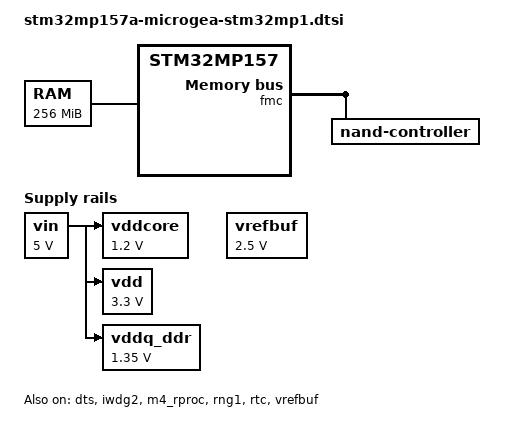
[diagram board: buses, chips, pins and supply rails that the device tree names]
// SPDX-License-Identifier: (GPL-2.0+ OR BSD-3-Clause)
/*
 * Copyright (c) STMicroelectronics 2019 - All Rights Reserved
 * Copyright (c) 2020 Engicam srl
 * Copyright (c) 2020 Amarula Solutions(India)
 */

/ {
	compatible = "engicam,microgea-stm32mp1", "st,stm32mp157";

	memory@c0000000 {
		device_type = "memory";
		reg = <0xc0000000 0x10000000>;
	};

	reserved-memory {
		#address-cells = <1>;
		#size-cells = <1>;
		ranges;

		mcuram2: mcuram2@10000000 {
			compatible = "shared-dma-pool";
			reg = <0x10000000 0x40000>;
			no-map;
		};

		vdev0vring0: vdev0vring0@10040000 {
			compatible = "shared-dma-pool";
			reg = <0x10040000 0x1000>;
			no-map;
		};

		vdev0vring1: vdev0vring1@10041000 {
			compatible = "shared-dma-pool";
			reg = <0x10041000 0x1000>;
			no-map;
		};

		vdev0buffer: vdev0buffer@10042000 {
			compatible = "shared-dma-pool";
			reg = <0x10042000 0x4000>;
			no-map;
		};

		mcuram: mcuram@30000000 {
			compatible = "shared-dma-pool";
			reg = <0x30000000 0x40000>;
			no-map;
		};

		retram: retram@38000000 {
			compatible = "shared-dma-pool";
			reg = <0x38000000 0x10000>;
			no-map;
		};
	};

	vin: regulator-vin {
		compatible = "regulator-fixed";
		regulator-name = "vin";
		regulator-min-microvolt = <5000000>;
		regulator-max-microvolt = <5000000>;
		regulator-always-on;
	};

	vddcore: regulator-vddcore {
		compatible = "regulator-fixed";
		regulator-name = "vddcore";
		regulator-min-microvolt = <1200000>;
		regulator-max-microvolt = <1200000>;
		regulator-always-on;
		vin-supply = <&vin>;
	};

	vdd: regulator-vdd {
		compatible = "regulator-fixed";
		regulator-name = "vdd";
		regulator-min-microvolt = <3300000>;
		regulator-max-microvolt = <3300000>;
		regulator-always-on;
		vin-supply = <&vin>;
	};

	vddq_ddr: regulator-vddq-ddr {
		compatible = "regulator-fixed";
		regulator-name = "vddq_ddr";
		regulator-min-microvolt = <1350000>;
		regulator-max-microvolt = <1350000>;
		regulator-always-on;
		vin-supply = <&vin>;
	};
};

&dts {
	status = "okay";
};

&fmc {
	pinctrl-names = "default", "sleep";
	pinctrl-0 = <&fmc_pins_a>;
	pinctrl-1 = <&fmc_sleep_pins_a>;
	status = "okay";

	nand-controller@4,0 {
		status = "okay";

		nand@0 {
			reg = <0>;
			nand-on-flash-bbt;
			#address-cells = <1>;
			#size-cells = <1>;
		};
	};
};

&ipcc {
	status = "okay";
};

&iwdg2{
	timeout-sec = <32>;
	status = "okay";
};

&m4_rproc{
	memory-region = <&retram>, <&mcuram>, <&mcuram2>, <&vdev0vring0>,
			<&vdev0vring1>, <&vdev0buffer>;
	mboxes = <&ipcc 0>, <&ipcc 1>, <&ipcc 2>;
	mbox-names = "vq0", "vq1", "shutdown";
	interrupt-parent = <&exti>;
	interrupts = <68 1>;
	status = "okay";
};

&rng1 {
	status = "okay";
};

&rtc{
	status = "okay";
};

&vrefbuf {
	regulator-min-microvolt = <2500000>;
	regulator-max-microvolt = <2500000>;
	vdda-supply = <&vdd>;
	status = "okay";
};
